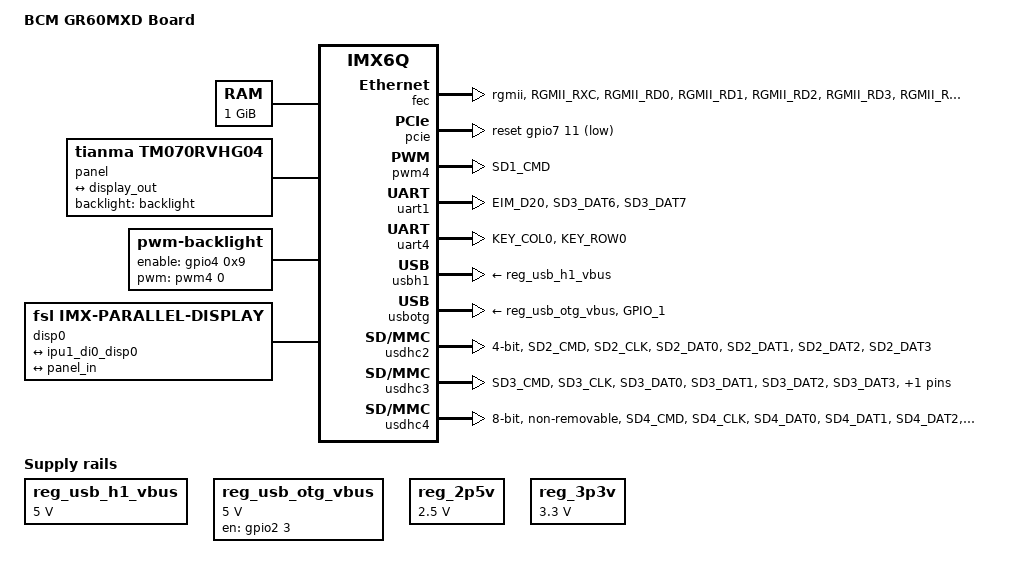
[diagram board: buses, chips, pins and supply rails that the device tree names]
/*
 */

/dts-v1/;
#include <dt-bindings/gpio/gpio.h>
#include "imx6q.dtsi"

/ {
	model = "BCM GR60MXD Board";
	compatible = "bcmtwn,imx6q-gr60mxd", "fsl,imx6q";

	memory@10000000 {
		device_type = "memory";
		reg = <0x10000000 0x40000000>;
	};

	panel {
		compatible = "tianma,tm070rvhg04";
		backlight = <&backlight>;

		port {
			panel_in: endpoint {
				remote-endpoint = <&display_out>;
			};
		};
	};

	backlight: pwm-backlight {
		compatible = "pwm-backlight";
		pwms = <&pwm4 0 5000000>;
		/* 
			step = (8 - 5) / 7 = ~0.43
			2 ^ (5 + (i * step))
		*/
		brightness-levels = <32 43 58 78 105 141 190 256>;
		default-brightness-level = <7>;
    	enable-gpios = <&gpio4 0x9 0x0>;
	};

	disp0 {
		compatible = "fsl,imx-parallel-display";
		#address-cells = <1>;
		#size-cells = <0>;
		interface-pix-fmt = "rgb24";
		pinctrl-names = "default";
		pinctrl-0 = <&pinctrl_lcd>;
		status = "okay";

		port@0 {
			reg = <0>;

			display_in: endpoint {
				remote-endpoint = <&ipu1_di0_disp0>;
			};
		};

		port@1 {
			reg = <1>;

			display_out: endpoint {
				remote-endpoint = <&panel_in>;
			};
		};
	};

	regulators {
		compatible = "simple-bus";
		#address-cells = <0x1>;
		#size-cells = <0x0>;

		reg_usb_h1_vbus: usb_h1_vbus {
			compatible = "regulator-fixed";
			regulator-name = "usb_h1_vbus";
			regulator-min-microvolt = <5000000>;
			regulator-max-microvolt = <5000000>;
            enable-active-high;
		};

		reg_usb_otg_vbus: usb_otg_vbus {
			compatible = "regulator-fixed";
			regulator-name = "usb_otg_vbus";
			regulator-min-microvolt = <5000000>;
			regulator-max-microvolt = <5000000>;
			gpio = <&gpio2 3 GPIO_ACTIVE_HIGH>;
            enable-active-high;
		};

		reg_2p5v: regulator@0 {
			compatible = "regulator-fixed";
			regulator-name = "2P5V";
			regulator-min-microvolt = <2500000>;
			regulator-max-microvolt = <2500000>;
			regulator-always-on;
		};

		reg_3p3v: regulator@1 {
			compatible = "regulator-fixed";
			regulator-name = "3P3V";
			regulator-min-microvolt = <3300000>;
			regulator-max-microvolt = <3300000>;
			regulator-always-on;
		};
	};
};

&ipu1_di0_disp0 {
	remote-endpoint = <&display_in>;
};

&fec {
	pinctrl-names = "default";
	pinctrl-0 = <&pinctrl_enet>;
	phy-mode = "rgmii";
	phy-reset-gpios = <&gpio1 27 GPIO_ACTIVE_LOW>;
	status = "okay";
};

&pcie {
	reset-gpio = <&gpio7 11 GPIO_ACTIVE_LOW>;
	disable-gpio = <&gpio1 9 GPIO_ACTIVE_LOW>;
	wake-gpio = <&gpio6 11 GPIO_ACTIVE_LOW>;
	status = "okay";
};

&pwm4 {
	pinctrl-names = "default";
	pinctrl-0 = <&pinctrl_pwm4>;
	status = "okay";
};

&uart1 {
	pinctrl-names = "default";
	pinctrl-0 = <&pinctrl_uart1>;
	fsl,uart-has-rtscts;
	linux,rs485-enabled-at-boot-time;
	status = "okay";
};

&uart2 {
	pinctrl-names = "default";
	pinctrl-0 = <&pinctrl_bt>;
	fsl,uart-has-rtscts;
	status = "disabled";
	/* for DTE mode, add below change */
	/* fsl,dte-mode; */
	/* pinctrl-0 = <&pinctrl_uart5dte_1>; */
};

&uart4 {
	pinctrl-names = "default";
	pinctrl-0 = <&pinctrl_uart4>;
	status = "okay";
};

&usbh1 {
	vbus-supply = <&reg_usb_h1_vbus>;
	status = "okay";
};

&usbotg {
	vbus-supply = <&reg_usb_otg_vbus>;
	pinctrl-names = "default";
	pinctrl-0 = <&pinctrl_usbotg>;
	imx6-usb-charger-detection;
	status = "okay";
};

&usdhc2 {
	pinctrl-names = "default";
	pinctrl-0 = <&pinctrl_wifi>;
	bus-width = <4>;
	no-1-8-v;
	status = "okay";
};

&usdhc3 {
	pinctrl-names = "default";
	pinctrl-0 = <&pinctrl_usdhc3>;
	cd-gpios = <&gpio7 0 GPIO_ACTIVE_LOW>;
	no-1-8-v;
	keep-power-in-suspend;
	enable-sdio-wakeup;
	status = "okay";
};

&usdhc4 {
	pinctrl-names = "default";
	pinctrl-0 = <&pinctrl_usdhc4>;
	bus-width = <8>;
	non-removable;
	no-1-8-v;
	keep-power-in-suspend;
	status = "okay";
};

&iomuxc {
	pinctrl-names = "default";
	pinctrl-0 = <&pinctrl_gr60mxd>;

	gr60mxd {
		pinctrl_gr60mxd: gr60mxdgrp {
			fsl,pins = <
				MX6QDL_PAD_GPIO_0__GPIO1_IO00  		0x80000000	/* SW_RST */
				MX6QDL_PAD_GPIO_2__GPIO1_IO02		0x80000000	/* CAN BUS standby mode control */
				MX6QDL_PAD_GPIO_4__GPIO1_IO04		0x80000000	/* VER_B0 */
				MX6QDL_PAD_GPIO_5__GPIO1_IO05		0x80000000	/* VER_B1 */
				MX6QDL_PAD_GPIO_9__GPIO1_IO09		0x80000000	/* PCIE_DIS_B */
				MX6QDL_PAD_KEY_COL1__GPIO4_IO08		0x80000000	/* L0_PWEREN */
				MX6QDL_PAD_KEY_ROW1__GPIO4_IO09		0x80000000	/* BL0_PWEREN */
				MX6QDL_PAD_KEY_COL2__GPIO4_IO10		0x80000000	/* BL0EN_GPO */
				MX6QDL_PAD_NANDF_ALE__GPIO6_IO08	0x80000000	/* CAP_TCH_INT0 */
				MX6QDL_PAD_NANDF_WP_B__GPIO6_IO09	0x80000000	/* GPIO_LED1 */
				MX6QDL_PAD_NANDF_RB0__GPIO6_IO10	0x80000000	/* GPIO_LED2 */
				MX6QDL_PAD_NANDF_CS0__GPIO6_IO11	0x80000000	/* PCIE_WAKE */
				MX6QDL_PAD_NANDF_CS2__GPIO6_IO15	0x80000000	/* PWR_EN */
				MX6QDL_PAD_SD3_DAT5__GPIO7_IO00		0x80000000	/* SD3_CD_B */
				MX6QDL_PAD_SD3_DAT4__GPIO7_IO01		0x80000000	/* WL_WAKEUP */ /* not use now */
				MX6QDL_PAD_GPIO_16__GPIO7_IO11		0x80000000	/* PCIE_RST_B */
				MX6QDL_PAD_NANDF_D0__GPIO2_IO00		0x80000000	/* LCD_RST */
				MX6QDL_PAD_NANDF_D1__GPIO2_IO01		0x80000000	/* USBV1_EN */
				MX6QDL_PAD_NANDF_D2__GPIO2_IO02		0x80000000	/* USBV2_EN */
				MX6QDL_PAD_NANDF_D3__GPIO2_IO03		0x80000000	/* OTG_PWR_EN */
				MX6QDL_PAD_GPIO_19__GPIO4_IO05		0x80000000	/* BT_REG_ON */
        MX6QDL_PAD_NANDF_CS3__GPIO6_IO16  0x80000000
        MX6QDL_PAD_NANDF_D7__GPIO2_IO07   0x80000000
			>;
		};

		pinctrl_lcd: lcdgrp-1 {
			fsl,pins = <
				MX6QDL_PAD_DI0_DISP_CLK__IPU1_DI0_DISP_CLK 0x10
				MX6QDL_PAD_DI0_PIN15__IPU1_DI0_PIN15       0x10
				MX6QDL_PAD_DI0_PIN2__IPU1_DI0_PIN02        0x10
				MX6QDL_PAD_DI0_PIN3__IPU1_DI0_PIN03        0x10
				MX6QDL_PAD_DISP0_DAT0__IPU1_DISP0_DATA00   0x10
				MX6QDL_PAD_DISP0_DAT1__IPU1_DISP0_DATA01   0x10
				MX6QDL_PAD_DISP0_DAT2__IPU1_DISP0_DATA02   0x10
				MX6QDL_PAD_DISP0_DAT3__IPU1_DISP0_DATA03   0x10
				MX6QDL_PAD_DISP0_DAT4__IPU1_DISP0_DATA04   0x10
				MX6QDL_PAD_DISP0_DAT5__IPU1_DISP0_DATA05   0x10
				MX6QDL_PAD_DISP0_DAT6__IPU1_DISP0_DATA06   0x10
				MX6QDL_PAD_DISP0_DAT7__IPU1_DISP0_DATA07   0x10
				MX6QDL_PAD_DISP0_DAT8__IPU1_DISP0_DATA08   0x10
				MX6QDL_PAD_DISP0_DAT9__IPU1_DISP0_DATA09   0x10
				MX6QDL_PAD_DISP0_DAT10__IPU1_DISP0_DATA10  0x10
				MX6QDL_PAD_DISP0_DAT11__IPU1_DISP0_DATA11  0x10
				MX6QDL_PAD_DISP0_DAT12__IPU1_DISP0_DATA12  0x10
				MX6QDL_PAD_DISP0_DAT13__IPU1_DISP0_DATA13  0x10
				MX6QDL_PAD_DISP0_DAT14__IPU1_DISP0_DATA14  0x10
				MX6QDL_PAD_DISP0_DAT15__IPU1_DISP0_DATA15  0x10
				MX6QDL_PAD_DISP0_DAT16__IPU1_DISP0_DATA16  0x10
				MX6QDL_PAD_DISP0_DAT17__IPU1_DISP0_DATA17  0x10
				MX6QDL_PAD_DISP0_DAT18__IPU1_DISP0_DATA18  0x10
				MX6QDL_PAD_DISP0_DAT19__IPU1_DISP0_DATA19  0x10
				MX6QDL_PAD_DISP0_DAT20__IPU1_DISP0_DATA20  0x10
				MX6QDL_PAD_DISP0_DAT21__IPU1_DISP0_DATA21  0x10
				MX6QDL_PAD_DISP0_DAT22__IPU1_DISP0_DATA22  0x10
				MX6QDL_PAD_DISP0_DAT23__IPU1_DISP0_DATA23  0x10
			>;
		};

		pinctrl_uart1: uart1grp-2 {
			fsl,pins = <
				MX6QDL_PAD_EIM_D20__UART1_RTS_B     0x1b0b1
				MX6QDL_PAD_SD3_DAT6__UART1_RX_DATA  0x1b0b1
				MX6QDL_PAD_SD3_DAT7__UART1_TX_DATA  0x1b0b1
			>;
		};

		pinctrl_bt: btgrp {
			fsl,pins = <
				MX6QDL_PAD_EIM_D26__UART2_TX_DATA     	0x1b0b1
				MX6QDL_PAD_EIM_D27__UART2_RX_DATA  		0x1b0b1
				MX6QDL_PAD_EIM_D28__UART2_CTS_B  		0x1b0b1
				MX6QDL_PAD_EIM_D29__UART2_RTS_B  		0x1b0b1
			>;
		};

		pinctrl_uart4: uart4grp {
			fsl,pins = <
				MX6QDL_PAD_KEY_COL0__UART4_TX_DATA	0x1b0b1
				MX6QDL_PAD_KEY_ROW0__UART4_RX_DATA	0x1b0b1
			>;
		};

		pinctrl_pwm4: pwm4grp-1 {
			fsl,pins = <
				MX6QDL_PAD_SD1_CMD__PWM4_OUT 0x1b0b1
			>;
		};

		pinctrl_enet: enetgrp {
			fsl,pins = <
				MX6QDL_PAD_RGMII_RXC__RGMII_RXC	        0x1b0b0
				MX6QDL_PAD_RGMII_RD0__RGMII_RD0	        0x1b0b0
				MX6QDL_PAD_RGMII_RD1__RGMII_RD1	        0x1b0b0
				MX6QDL_PAD_RGMII_RD2__RGMII_RD2	        0x1b0b0
				MX6QDL_PAD_RGMII_RD3__RGMII_RD3	        0x1b0b0
				MX6QDL_PAD_RGMII_RX_CTL__RGMII_RX_CTL   0x1b0b0
				MX6QDL_PAD_RGMII_TXC__RGMII_TXC	        0x1b0b0
				MX6QDL_PAD_RGMII_TD0__RGMII_TD0	        0x1b0b0
				MX6QDL_PAD_RGMII_TD1__RGMII_TD1	        0x1b0b0
				MX6QDL_PAD_RGMII_TD2__RGMII_TD2	        0x1b0b0
				MX6QDL_PAD_RGMII_TD3__RGMII_TD3	        0x1b0b0
				MX6QDL_PAD_RGMII_TX_CTL__RGMII_TX_CTL   0x1b0b0
				MX6QDL_PAD_ENET_REF_CLK__ENET_TX_CLK	0x1b0b0
				MX6QDL_PAD_ENET_MDIO__ENET_MDIO	        0x1b0b0
				MX6QDL_PAD_ENET_MDC__ENET_MDC	        0x1b0b0
				MX6QDL_PAD_ENET_RXD0__GPIO1_IO27		0x80000000/* GE_nRST	*/
				MX6QDL_PAD_ENET_TX_EN__GPIO1_IO28       0x80000000/* PHY_INT	*/
			>;
		};

		pinctrl_usbotg: usbotggrp {
			fsl,pins = <
				MX6QDL_PAD_GPIO_1__USB_OTG_ID	0x17059
			>;
		};

		pinctrl_wifi: wifigrp {
			fsl,pins = <
				MX6QDL_PAD_SD2_CMD__SD2_CMD			0x17059
				MX6QDL_PAD_SD2_CLK__SD2_CLK			0x10059
				MX6QDL_PAD_SD2_DAT0__SD2_DATA0		0x17059
				MX6QDL_PAD_SD2_DAT1__SD2_DATA1		0x17059
				MX6QDL_PAD_SD2_DAT2__SD2_DATA2		0x17059
				MX6QDL_PAD_SD2_DAT3__SD2_DATA3		0x17059
			>;
		};

		pinctrl_usdhc3: usdhc3grp {
			fsl,pins = <
				MX6QDL_PAD_SD3_CMD__SD3_CMD			0x17059
				MX6QDL_PAD_SD3_CLK__SD3_CLK			0x10059
				MX6QDL_PAD_SD3_DAT0__SD3_DATA0		0x17059
				MX6QDL_PAD_SD3_DAT1__SD3_DATA1		0x17059
				MX6QDL_PAD_SD3_DAT2__SD3_DATA2		0x17059
				MX6QDL_PAD_SD3_DAT3__SD3_DATA3		0x17059
			>;
		};

		pinctrl_usdhc4: usdhc4grp {
			fsl,pins = <
				MX6QDL_PAD_SD4_CMD__SD4_CMD			0x17059
				MX6QDL_PAD_SD4_CLK__SD4_CLK			0x10059
				MX6QDL_PAD_SD4_DAT0__SD4_DATA0		0x17059
				MX6QDL_PAD_SD4_DAT1__SD4_DATA1		0x17059
				MX6QDL_PAD_SD4_DAT2__SD4_DATA2		0x17059
				MX6QDL_PAD_SD4_DAT3__SD4_DATA3		0x17059
				MX6QDL_PAD_SD4_DAT4__SD4_DATA4		0x17059
				MX6QDL_PAD_SD4_DAT5__SD4_DATA5		0x17059
				MX6QDL_PAD_SD4_DAT6__SD4_DATA6		0x17059
				MX6QDL_PAD_SD4_DAT7__SD4_DATA7		0x17059
			>;
		};

	};
};

